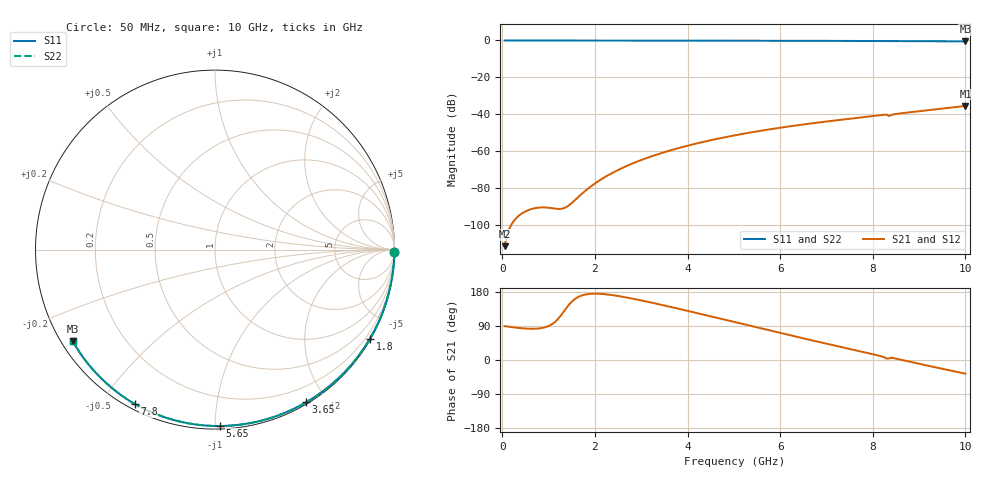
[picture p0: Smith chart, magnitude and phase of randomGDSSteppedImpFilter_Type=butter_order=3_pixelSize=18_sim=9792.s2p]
! freq	dB(S11)	phase(S11)	dB(S12)	phase(S12)
!  dB(S21)	phase(S21)	dB(S22)	phase(S22)
!S-par simulation data
#  GHz  S  DB  R 50
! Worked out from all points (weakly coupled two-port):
!   200 points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, 50 MHz to 10 GHz, reference 50 ohm
!   highest |S21| = -35.47 dB at 10 GHz (marker M1); lowest = -111.4 dB at 50 MHz (marker M2)
!   lowest |S11| = -0.5 dB at 10 GHz (marker M3), VSWR 33.73, Z = 1.61 - j14.7 ohm
!   |S11| at or under -10 dB: nowhere
!   |S22| runs from -0.5 to 0.0 dB; largest |S21 - S12| = 0
!   S11 on the Smith chart (normalised r, x): 50 MHz: open; 1.8 GHz: 0.03, -3.74; 3.65 GHz: 0.02, -1.76; 5.65 GHz: 0.02, -1.03; 7.8 GHz: 0.02, -0.61; 10 GHz: 0.03, -0.29
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0.05  -0.00 -0.9  -111.43 89.4  -111.43 89.4  -0.00 -0.9
0.9  -0.02 -15.1  -90.43 85.6  -90.43 85.6  -0.02 -15.1
1.75  -0.04 -29.1  -82.36 171.5  -82.36 171.5  -0.04 -29.1
1.8  -0.04 -29.9  -81.29 172.9  -81.29 172.9  -0.04 -29.9
1.85  -0.04 -30.7  -80.28 173.9  -80.28 173.9  -0.04 -30.7
2.25  -0.05 -37.2  -73.50 173.2  -73.50 173.2  -0.05 -37.2
2.6  -0.05 -42.8  -68.96 166.8  -68.96 166.8  -0.05 -42.8
2.95  -0.06 -48.3  -65.25 158.5  -65.25 158.5  -0.06 -48.3
3.4  -0.07 -55.3  -61.30 146.6  -61.30 146.6  -0.07 -55.3
3.65  -0.08 -59.1  -59.40 139.7  -59.40 139.7  -0.08 -59.1
4.3  -0.10 -68.9  -55.18 121.0  -55.18 121.0  -0.10 -68.9
5.05  -0.12 -79.9  -51.25 99.1  -51.25 99.1  -0.12 -79.9
5.65  -0.15 -88.4  -48.63 81.6  -48.63 81.6  -0.15 -88.4
6.7  -0.20 -102.9  -44.85 51.4  -44.85 51.4  -0.20 -102.9
7.8  -0.27 -117.6  -41.55 20.9  -41.55 20.9  -0.27 -117.6
8.25  -0.31 -123.5  -40.23 7.1  -40.23 7.1  -0.31 -123.5
8.3  -0.32 -124.2  -40.21 3.8  -40.21 3.8  -0.32 -124.2
8.35  -0.33 -124.9  -40.90 4.2  -40.90 4.2  -0.33 -124.9
8.45  -0.34 -126.2  -40.05 4.9  -40.05 4.9  -0.34 -126.2
8.55  -0.35 -127.5  -39.65 1.9  -39.65 1.9  -0.35 -127.5
9.3  -0.43 -137.4  -37.51 -17.9  -37.51 -17.9  -0.43 -137.4
10  -0.52 -147.2  -35.47 -36.1  -35.47 -36.1  -0.52 -147.2
